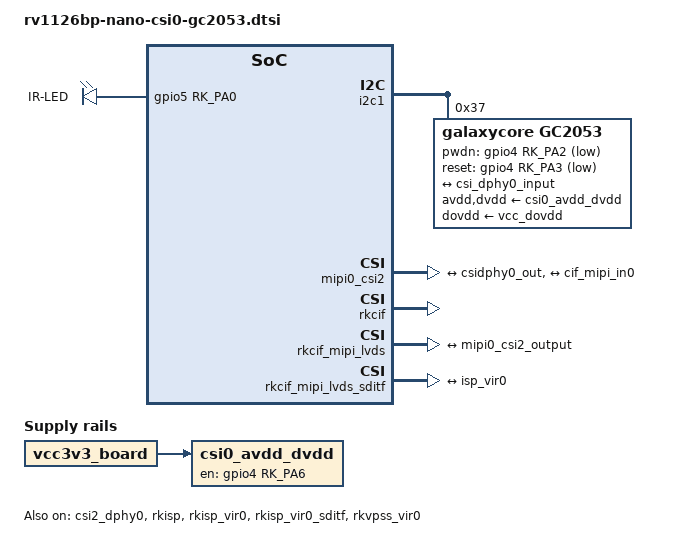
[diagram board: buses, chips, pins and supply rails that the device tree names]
// SPDX-License-Identifier: (GPL-2.0+ OR MIT)
/*
 * Copyright (c) 2025 Guangzhou EASY EAI Technology Co., Ltd.
 */

/*
 * csi2_dphy0 -> csi0(rx0) clk0 + 4 lane
 * csi2_dphy1 -> csi0(rx0) clk0 + 2 lane 0/1
 * csi2_dphy2 -> csi0(rx0) clk1 + 2 lane 2/3
 * csi2_dphy3 -> csi1(rx1) clk0 + 4 lane
 * csi2_dphy4 -> csi1(rx1) clk0 + 2 lane 0/1
 * csi2_dphy5 -> csi1(rx1) clk1 + 2 lane 2/3
 */

/ {
	csi0_avdd_dvdd: csi0_avdd_dvdd {
		compatible = "regulator-fixed";
		gpio = <&gpio4 RK_PA6 GPIO_ACTIVE_HIGH>;
		pinctrl-names = "default";
		pinctrl-0 = <&cam_en_pin>;
		regulator-name = "csi0_avdd_dvdd";
		enable-active-high;
		vin-supply = <&vcc3v3_board>;
	};

	gpioleds {
		pinctrl-names = "default";
		pinctrl-0 = <&ir_led_io>;
		compatible = "gpio-leds";

		ir_led {
			label = "IR-LED";
			gpios = <&gpio5 RK_PA0 GPIO_ACTIVE_HIGH>;
			default-state = "on";
		};
	};
};

&csi2_dphy0 {
	status = "okay";

	ports {
		#address-cells = <1>;
		#size-cells = <0>;
		port@0 {
			reg = <0>;
			#address-cells = <1>;
			#size-cells = <0>;

			csi_dphy0_input: endpoint@1 {
				reg = <1>;
				remote-endpoint = <&gc2053_out0>;
				data-lanes = <1 2>;
			};
		};
		port@1 {
			reg = <1>;
			#address-cells = <1>;
			#size-cells = <0>;

			csidphy0_out: endpoint@0 {
				reg = <0>;
				remote-endpoint = <&mipi0_csi2_input>;
				data-lanes = <1 2>;
			};
		};
	};
};

&i2c1 {
	status = "okay";
	pinctrl-0 = <&i2c1m2_pins>;

	gc2053: gc2053@37 {
		compatible = "galaxycore,gc2053";
		status = "okay";
		reg = <0x37>;
		clocks = <&cru CLK_MIPI0_OUT2IO>;
		clock-names = "xvclk";

		pwdn-gpios = <&gpio4 RK_PA2 GPIO_ACTIVE_LOW>;
		reset-gpios = <&gpio4 RK_PA3 GPIO_ACTIVE_LOW>;
		pinctrl-names = "default";
		pinctrl-0 = <&cam_clk0_pins &csi0_rst &csi0_pwdn>;

		avdd-supply = <&csi0_avdd_dvdd>;
		dovdd-supply = <&vcc_dovdd>;
		dvdd-supply = <&csi0_avdd_dvdd>;

		rockchip,camera-module-index = <0>;
		rockchip,camera-module-facing = "front";
		rockchip,camera-module-name = "YT-RV1109-2-V1";
		rockchip,camera-module-lens-name = "40IR-2MP-F20";
		port {
			gc2053_out0: endpoint {
				remote-endpoint = <&csi_dphy0_input>;
				data-lanes = <1 2>;
			};
		};
	};
};

&mipi0_csi2 {
	status = "okay";

	ports {
		#address-cells = <1>;
		#size-cells = <0>;

		port@0 {
			reg = <0>;
			#address-cells = <1>;
			#size-cells = <0>;

			mipi0_csi2_input: endpoint@1 {
				reg = <1>;
				remote-endpoint = <&csidphy0_out>;
			};
		};

		port@1 {
			reg = <1>;
			#address-cells = <1>;
			#size-cells = <0>;

			mipi0_csi2_output: endpoint@0 {
				reg = <0>;
				remote-endpoint = <&cif_mipi_in0>;
			};
		};
	};
};

&pinctrl {
	mipi-csi {
		/omit-if-no-ref/
		csi0_rst: csi0_rst {
			rockchip,pins =
				<4 RK_PA3 RK_FUNC_GPIO &pcfg_pull_up>;
		};

		/omit-if-no-ref/
		csi0_pwdn: csi0_pwdn {
			rockchip,pins =
				<4 RK_PA2 RK_FUNC_GPIO &pcfg_pull_up>;
		};

		/omit-if-no-ref/
		cam_en_pin: cam_en_pin {
			rockchip,pins =
				<4 RK_PA6 RK_FUNC_GPIO &pcfg_pull_up>;
		};

		/omit-if-no-ref/
		ir_led_io: ir-led-io {
			rockchip,pins =
				<5 RK_PA0 RK_FUNC_GPIO &pcfg_pull_up>;
		};
	};
};

&rkcif {
	status = "okay";
};

&rkcif_mipi_lvds {
	status = "okay";

	port {
		cif_mipi_in0: endpoint {
			remote-endpoint = <&mipi0_csi2_output>;
		};
	};
};

&rkcif_mipi_lvds_sditf {
	status = "okay";

	port {
		mipi_lvds_sditf: endpoint {
			remote-endpoint = <&isp_vir0>;
		};
	};
};

&rkcif_mmu {
	status = "okay";
};

&rkisp {
	status = "okay";
};

&rkisp_mmu {
	status = "okay";
};

&rkisp_vir0 {
	status = "okay";

	port {
		#address-cells = <1>;
		#size-cells = <0>;

		isp_vir0: endpoint@0 {
			reg = <0>;
			remote-endpoint = <&mipi_lvds_sditf>;
		};
	};
};

&rkisp_vir0_sditf {
	status = "okay";
};

&rkvpss_vir0 {
	status = "okay";
};
